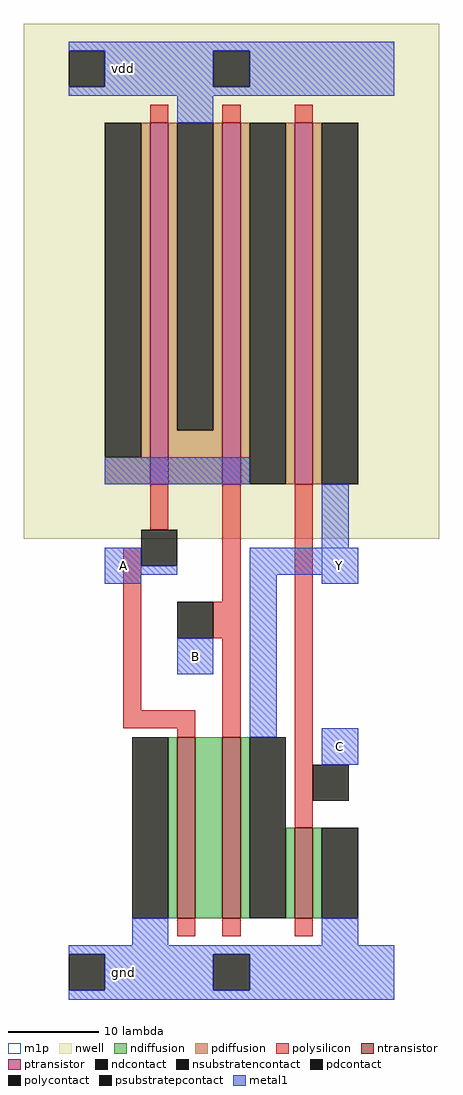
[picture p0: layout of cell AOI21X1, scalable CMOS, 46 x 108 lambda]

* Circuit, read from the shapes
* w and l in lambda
.subckt AOI21X1 A B C gnd vdd
M1 n1 A gnd gnd nfet w=20 l=2
M2 n2 B n1 gnd nfet w=20 l=2
M3 gnd C n2 gnd nfet w=10 l=2
M4 vdd A n3 vdd pfet w=40 l=2
M5 n3 B vdd vdd pfet w=40 l=2
M6 n2 C n3 vdd pfet w=40 l=2
.ends

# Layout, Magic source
magic
tech scmos
<< nwell >>
rect -7 48 39 105
<< ntransistor >>
rect 10 6 12 26
rect 15 6 17 26
rect 23 6 25 16
<< ptransistor >>
rect 7 54 9 94
rect 15 54 17 94
rect 23 54 25 94
<< ndiffusion >>
rect 9 6 10 26
rect 12 6 15 26
rect 17 6 18 26
rect 22 6 23 16
rect 25 6 26 16
<< pdiffusion >>
rect 6 57 7 94
rect 2 54 7 57
rect 9 60 10 94
rect 14 60 15 94
rect 9 54 15 60
rect 17 54 18 94
rect 22 54 23 94
rect 25 54 26 94
<< ndcontact >>
rect 5 6 9 26
rect 18 6 22 26
rect 26 6 30 16
<< pdcontact >>
rect 2 57 6 94
rect 10 60 14 94
rect 18 54 22 94
rect 26 54 30 94
<< psubstratepcontact >>
rect -2 -2 2 2
rect 14 -2 18 2
<< nsubstratencontact >>
rect -2 98 2 102
rect 14 98 18 102
<< polysilicon >>
rect 7 94 9 96
rect 15 94 17 96
rect 23 94 25 96
rect 7 49 9 54
rect 4 29 6 47
rect 15 41 17 54
rect 14 37 17 41
rect 4 27 12 29
rect 10 26 12 27
rect 15 26 17 37
rect 23 16 25 54
rect 10 4 12 6
rect 15 4 17 6
rect 23 4 25 6
<< polycontact >>
rect 6 45 10 49
rect 10 37 14 41
rect 25 19 29 23
<< metal1 >>
rect -2 102 34 103
rect 2 98 14 102
rect 18 98 34 102
rect -2 97 34 98
rect 10 94 14 97
rect 2 54 18 57
rect 2 45 6 47
rect 26 47 29 54
rect 2 44 10 45
rect 18 44 30 47
rect 2 43 6 44
rect 10 33 14 37
rect 18 26 21 44
rect 26 43 30 44
rect 26 23 30 27
rect 5 3 9 6
rect 26 3 30 6
rect -2 2 34 3
rect 2 -2 14 2
rect 18 -2 34 2
rect -2 -3 34 -2
<< m1p >>
rect 2 43 6 47
rect 26 43 30 47
rect 10 33 14 37
rect 26 23 30 27
<< labels >>
rlabel metal1 4 0 4 0 1 gnd
rlabel metal1 4 100 4 100 5 vdd
rlabel metal1 4 45 4 45 1 A
rlabel metal1 12 35 12 35 1 B
rlabel m1p 28 45 28 45 1 Y
rlabel metal1 28 25 28 25 1 C
<< end >>
